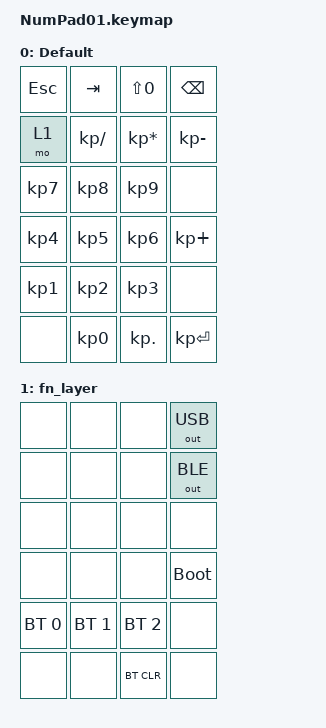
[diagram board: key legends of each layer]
/*
 * Copyright (c) 2022 The ZMK Contributors
 *
 * SPDX-License-Identifier: MIT
 */

#include <behaviors.dtsi>
#include <dt-bindings/zmk/keys.h>
#include <dt-bindings/zmk/bt.h>
#include <dt-bindings/zmk/outputs.h>

/ {
    keymap {
        compatible = "zmk,keymap";

        default_layer {
            bindings = <
                &kp ESC        &kp TAB       &kp LS(N0)      &kp BSPC
                &mo 1          &kp KP_SLASH  &kp KP_ASTERISK &kp KP_MINUS
                &kp KP_N7      &kp KP_N8     &kp KP_N9       &none
                &kp KP_N4      &kp KP_N5     &kp KP_N6       &kp KP_PLUS
                &kp KP_N1      &kp KP_N2     &kp KP_N3       &none
                &none          &kp KP_N0     &kp KP_DOT      &kp KP_ENTER
            >;
            label = "Default";
        };

        fn_layer {
            display-name = "fn_layer";
            bindings = <
                &none          &none          &none           &out OUT_USB
                &none          &none          &none           &out OUT_BLE
                &none          &none          &none           &none
                &none          &none          &none           &bootloader
                &bt BT_SEL 0   &bt BT_SEL 1   &bt BT_SEL 2    &none
                &none          &none          &bt BT_CLR      &none
            >;
            label = "fn_layer";
        };
    };
};
